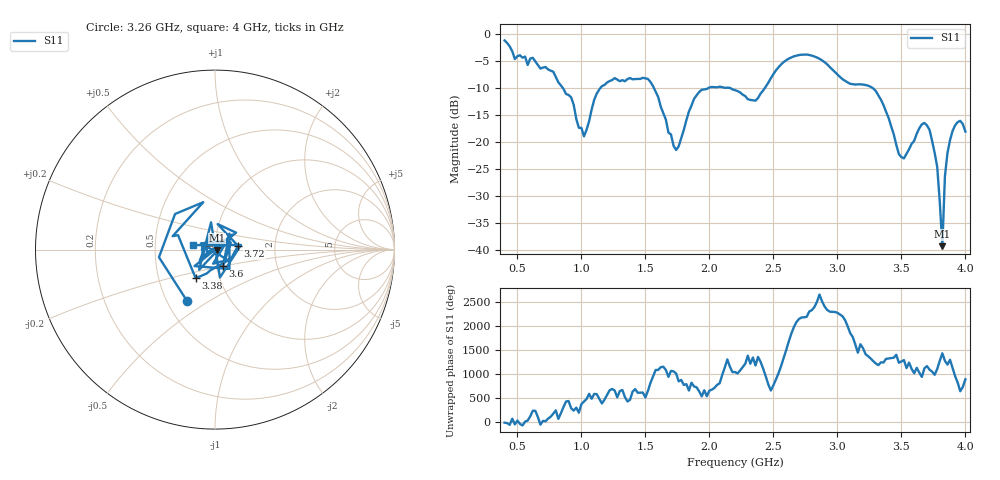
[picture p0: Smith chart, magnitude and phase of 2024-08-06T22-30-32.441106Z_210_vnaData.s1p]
!Created with skrf (http://scikit-rf.org).
# Hz S RI R 50.0
!freq ReS11 ImS11
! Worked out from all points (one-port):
!   181 points, 400 MHz to 4 GHz, reference 50 ohm
!   lowest |S11| = -39.3 dB at 3.82 GHz (marker M1), VSWR 1.02, Z = 51.1 - j0.188 ohm
!   |S11| at or under -10 dB: 856.5 MHz to 1.147 GHz (290.5 MHz wide, 29 % of centre); 1.567 GHz to 1.989 GHz (422.1 MHz wide, 23.7 % of centre); 3.278 GHz to end of sweep (the widest 3 of 4)
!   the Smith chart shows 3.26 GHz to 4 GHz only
!   S11 on the Smith chart (normalised r, x): 3.26 GHz: 0.63, -0.40; 3.38 GHz: 0.77, -0.25; 3.6 GHz: 1.07, -0.20; 3.72 GHz: 1.29, +0.06; 4 GHz: 0.78, +0.04
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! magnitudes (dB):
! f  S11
! 400 MHz  -1.1
! 480 MHz  -4.6
! 620 MHz  -4.4
! 860 MHz  -10.1
! 1.02 GHz  -18.9
! 1.14 GHz  -10.2
! 1.3 GHz  -8.7
! 1.52 GHz  -8.3
! 1.72 GHz  -20.7
! 1.76 GHz  -20.8
! 1.92 GHz  -10.7
! 2.2 GHz  -10.3
! 2.36 GHz  -12.3
! 2.66 GHz  -4.1
! 3.1 GHz  -9.2
! 3.26 GHz  -9.7
! 3.38 GHz  -14.3
! 3.48 GHz  -22.2
! 3.56 GHz  -21.3
! 3.6 GHz  -19.7
! 3.66 GHz  -16.7
! 3.72 GHz  -17.7
! 3.78 GHz  -24.6
! 3.82 GHz  -39.3
! 3.84 GHz  -26.4
! 3.88 GHz  -19.6
! 3.94 GHz  -16.3
! 4 GHz  -18.0
